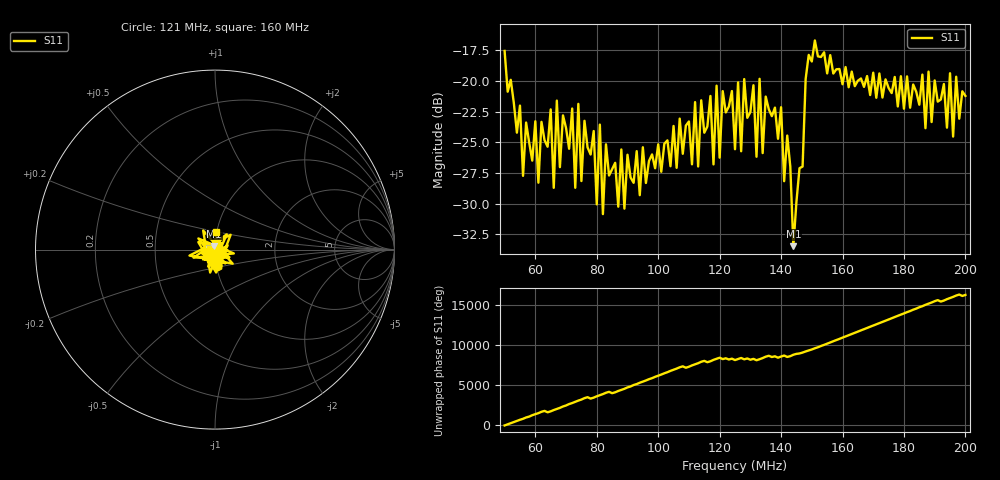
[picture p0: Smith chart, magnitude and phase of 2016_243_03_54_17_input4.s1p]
!Agilent N9923A: A.07.32
!Date: Tuesday, 30 August 2016 11:27:53
!Model: N9923A
!Serial: MY52412305
!GPS Latitude:
!GPS Longitude:
!GPS TimeStamp: 0001-01-01 00:00:00Z
!GPS Seconds Since Last Read: 0
!CHECKSUM:1107188192
!Correction: S11(Rdy)
!S1P File: Measurement: S11:
# Hz S DB R 50
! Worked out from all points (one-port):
!   151 points, 50 MHz to 200 MHz, reference 50 ohm
!   lowest |S11| = -33.5 dB at 144 MHz (marker M1), VSWR 1.04, Z = 49.5 + j2.06 ohm
!   |S11| at or under -10 dB: start of sweep to end of sweep
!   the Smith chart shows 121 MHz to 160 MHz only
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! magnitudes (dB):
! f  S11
! 50 MHz  -17.6
! 56 MHz  -27.7
! 69 MHz  -22.8
! 72 MHz  -22.2
! 73 MHz  -28.7
! 74 MHz  -21.9
! 75 MHz  -28.2
! 79 MHz  -24.1
! 80 MHz  -30.0
! 81 MHz  -23.6
! 82 MHz  -30.8
! 83 MHz  -25.2
! 88 MHz  -25.6
! 89 MHz  -30.4
! 107 MHz  -23.1
! 125 MHz  -25.6
! 126 MHz  -20.1
! 127 MHz  -25.7
! 128 MHz  -19.8
! 132 MHz  -26.2
! 133 MHz  -19.8
! 134 MHz  -25.9
! 140 MHz  -22.1
! 144 MHz  -33.5
! 149 MHz  -17.9
! 163 MHz  -19.2
! 182 MHz  -22.2
! 200 MHz  -21.2
